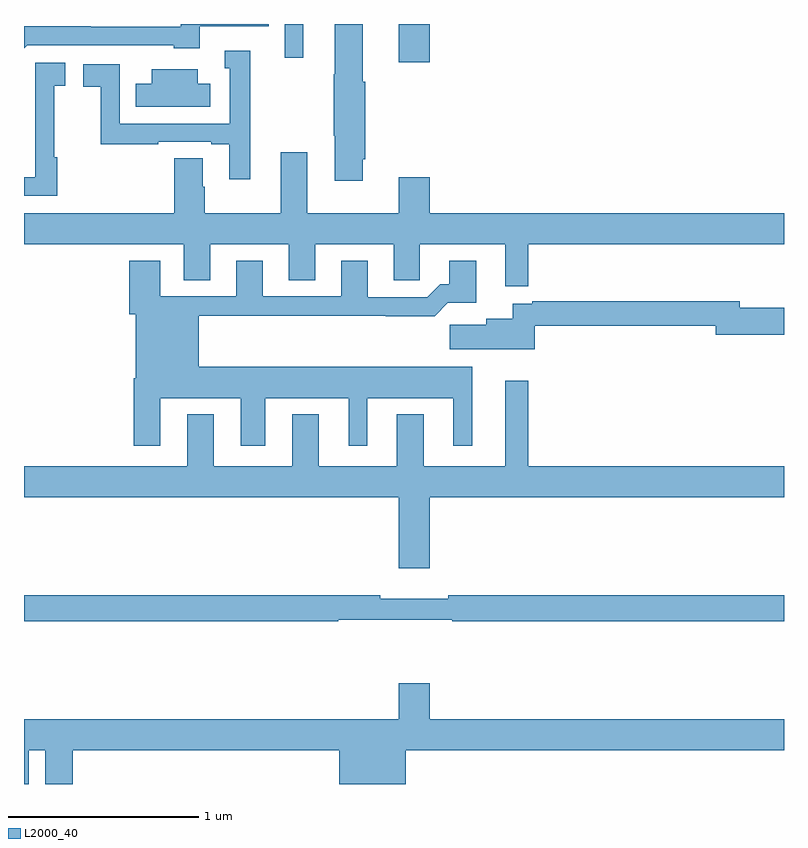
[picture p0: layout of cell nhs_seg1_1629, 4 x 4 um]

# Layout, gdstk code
import gdstk
lib = gdstk.Library(unit=1e-6, precision=1e-09)
def R(c, l, rs):  # rectangles x0, y0, x1, y1
    for r in rs: c.add(gdstk.rectangle(r[:2], r[2:], *l))
def P(c, l, *ps):  # polygons
    for p in ps: c.add(gdstk.Polygon(p, *l))
L2000_40 = (2000, 40)

nhs_seg1_1629 = lib.new_cell('nhs_seg1_1629')
R(nhs_seg1_1629, L2000_40, [(200.972,577.998,201.136,578.199), (200.373,578.022,200.47,578.199)])
P(nhs_seg1_1629, L2000_40, [(200.782,577.486),(200.795,577.486),(200.795,577.896),(200.782,577.896),(200.782,578.199),(200.636,578.199),(200.636,577.934),(200.629,577.934),(200.629,577.612),(200.636,577.612),(200.636,577.374),(200.782,577.374)],
  [(199.017,578.088),(199.788,578.088),(199.788,578.072),(199.924,578.072),(199.924,578.187),(200.288,578.187),(200.288,578.199),(199.825,578.199),(199.825,578.184),(199.352,578.184),(199.352,578.186),(199,578.186),(199,578.071)],
  [(200.191,578.059),(200.057,578.059),(200.057,577.965),(200.082,577.965),(200.082,577.674),(199.503,577.674),(199.503,577.986),(199.311,577.986),(199.311,577.87),(199.405,577.87),(199.405,577.566),(199.706,577.566),(199.706,577.578),(199.985,577.578),(199.985,577.566),(200.081,577.566),(200.081,577.383),(200.191,577.383)],
  [(199.175,577.499),(199.158,577.499),(199.158,577.875),(199.216,577.875),(199.216,577.996),(199.058,577.996),(199.058,577.72),(199.059,577.72),(199.059,577.392),(199,577.392),(199,577.296),(199.175,577.296)],
  [(199.981,577.885),(199.915,577.885),(199.915,577.96),(199.673,577.96),(199.673,577.885),(199.588,577.885),(199.588,577.763),(199.981,577.763)],
  [(201.655,577.04),(203,577.04),(203,577.204),(201.136,577.204),(201.136,577.393),(200.972,577.393),(200.972,577.204),(200.491,577.204),(200.491,577.525),(200.351,577.525),(200.351,577.204),(199.95,577.204),(199.95,577.343),(199.942,577.343),(199.942,577.493),(199.79,577.493),(199.79,577.204),(199,577.204),(199,577.04),(199.841,577.04),(199.841,576.85),(199.981,576.85),(199.981,577.04),(200.393,577.04),(200.393,576.85),(200.533,576.85),(200.533,577.04),(200.945,577.04),(200.945,576.85),(201.084,576.85),(201.084,577.04),(201.533,577.04),(201.533,576.819),(201.655,576.819)],
  [(199.717,576.23),(200.141,576.23),(200.141,575.979),(200.269,575.979),(200.269,576.23),(200.708,576.23),(200.708,575.979),(200.806,575.979),(200.806,576.23),(201.26,576.23),(201.26,575.979),(201.358,575.979),(201.358,576.394),(199.921,576.394),(199.921,576.664),(200.905,576.664),(200.905,576.662),(201.161,576.662),(201.23,576.731),(201.379,576.731),(201.379,576.952),(201.239,576.952),(201.239,576.829),(201.19,576.829),(201.123,576.762),(200.809,576.762),(200.809,576.952),(200.669,576.952),(200.669,576.765),(200.257,576.765),(200.257,576.952),(200.117,576.952),(200.117,576.765),(199.717,576.765),(199.717,576.952),(199.553,576.952),(199.553,576.672),(199.589,576.672),(199.589,576.334),(199.577,576.334),(199.577,575.979),(199.717,575.979)],
  [(201.689,576.61),(202.64,576.61),(202.64,576.563),(203,576.563),(203,576.705),(202.768,576.705),(202.768,576.739),(201.676,576.739),(201.676,576.726),(201.572,576.726),(201.572,576.649),(201.434,576.649),(201.434,576.617),(201.24,576.617),(201.24,576.488),(201.689,576.488)],
  [(201.136,575.708),(203,575.708),(203,575.872),(201.655,575.872),(201.655,576.322),(201.533,576.322),(201.533,575.872),(201.103,575.872),(201.103,576.145),(200.963,576.145),(200.963,575.872),(200.551,575.872),(200.551,576.145),(200.411,576.145),(200.411,575.872),(199.999,575.872),(199.999,576.145),(199.859,576.145),(199.859,575.872),(199,575.872),(199,575.708),(200.972,575.708),(200.972,575.334),(201.136,575.334)],
  [(200.655,575.064),(201.255,575.064),(201.255,575.056),(203,575.056),(203,575.192),(201.232,575.192),(201.232,575.173),(200.876,575.173),(200.876,575.192),(199,575.192),(199,575.056),(200.655,575.056)],
  [(199.024,574.376),(199.112,574.376),(199.112,574.199),(199.256,574.199),(199.256,574.376),(200.66,574.376),(200.66,574.199),(201.01,574.199),(201.01,574.376),(203,574.376),(203,574.54),(201.136,574.54),(201.136,574.729),(200.972,574.729),(200.972,574.54),(199,574.54),(199,574.199),(199.024,574.199)])

lib.write_gds('nhs_seg1_1629.gds')
